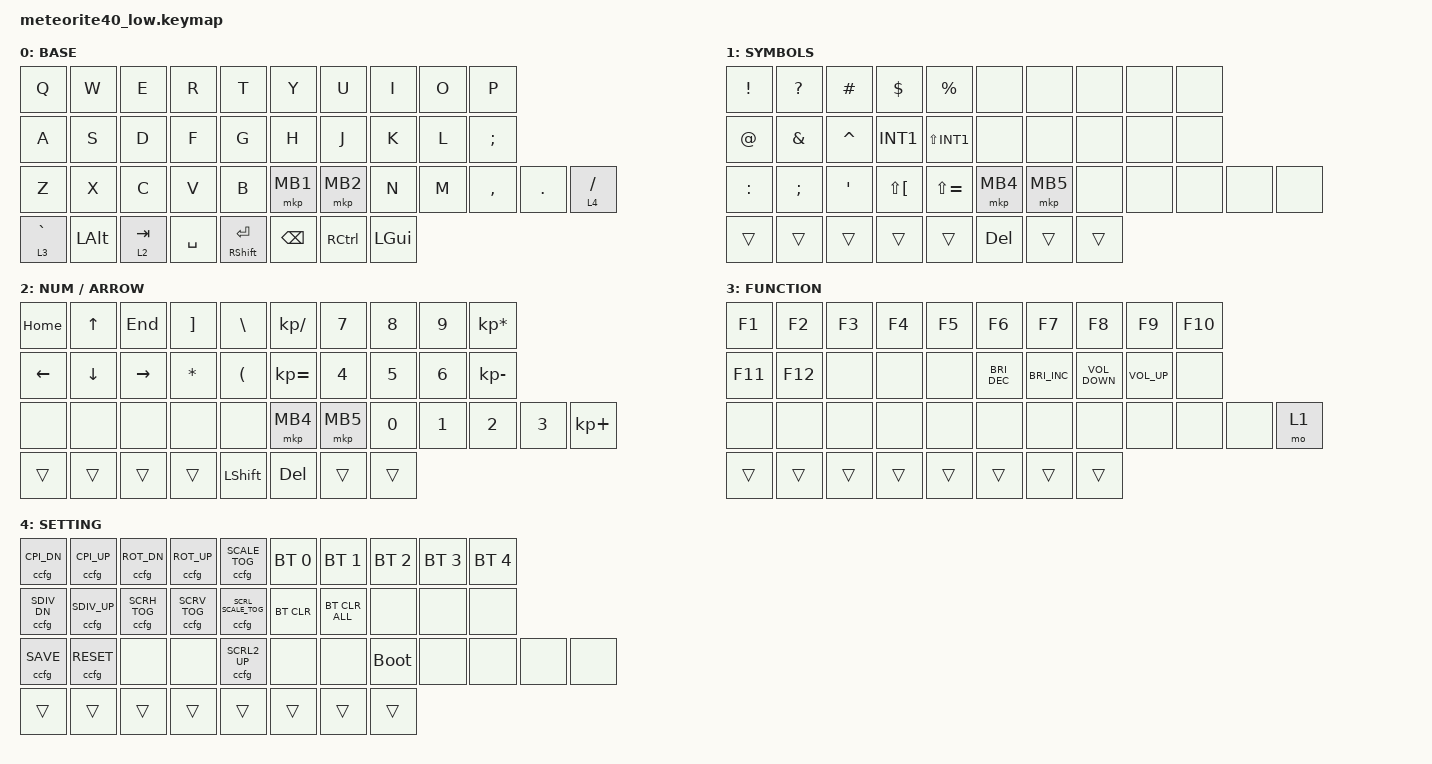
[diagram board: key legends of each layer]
#include <behaviors/custom_config.dtsi>
#include <behaviors/meteorite_custom_key.dtsi>
#include <behaviors/meteorite_bt_os.dtsi>
#include <behaviors/meteorite_mod_key.dtsi>
#include <behaviors/meteorite_os_key.dtsi>
#include <dt-bindings/zmk/custom_config.h>
#include <dt-bindings/zmk/meteorite_custom_keys.h>
#include <dt-bindings/zmk/meteorite_bt_os.h>
#include <behaviors.dtsi>
#include <dt-bindings/zmk/bt.h>
#include <dt-bindings/zmk/keys.h>
#include <dt-bindings/zmk/pointing.h>

&mt {
    flavor = "tap-preferred"; // change hold to tap
    tapping-term-ms = <200>;
    quick-tap-ms = <150>; // change 200 to 150
};

&lt {
    flavor = "tap-preferred";
    tapping-term-ms = <150>; // change 200 to 150
    quick-tap-ms = <150>; // change 200 to 150
};

/ {
    behaviors {
        mck_mt: mck_mt {
            compatible = "zmk,behavior-hold-tap";
            #binding-cells = <2>;
            flavor = "tap-preferred";
            tapping-term-ms = <150>;
            bindings = <&mck>, <&kp>;

            display-name = "meteorite OS-Switch-mod-tap";
        };

        mck_mt_st: mck_mt_st {
            compatible = "zmk,behavior-hold-tap";
            #binding-cells = <2>;
            flavor = "tap-preferred";
            tapping-term-ms = <150>;
            bindings = <&mck>, <&alt_cmd_tab>;

            display-name = "meteorite OS-Switch-mod-tap (smart toggle)";
        };

        alt_cmd_tab: alt_cmd_tab {
            compatible = "zmk,behavior-smart-toggle";
            #binding-cells = <0>;
            display-name = "meteorite Smart toggle (Alt/Cmd+Tab)";
            bindings = <&mck M_OS_ALT_CMD>, <&kp TAB>;

            position-bindings = <12 13>; /* D, F */
            position-binding-behaviors = <&kp LS(TAB)>, <&kp TAB>;
        };
    };

    combos {
        compatible = "zmk,combos";

        esc {
            bindings = <&kp ESCAPE>;
            key-positions = <1 0>; /* Z + X */
            layers = <0>;
        };

        prtsc_symbol {
            bindings = <&lt 1 PRINTSCREEN>;
            key-positions = <8 9>;
        };

        middle_click {
            bindings = <&mkp MB3>;
            key-positions = <25 26>;
        };
    };

    keymap {
        compatible = "zmk,keymap";
        layout = &LOW_PROFILE_DEFAULT;

        win_default_layer {
            display-name = "BASE";
            bindings = <
&kp Q        &kp W         &kp E      &kp R      &kp T            &kp Y          &kp U      &kp I         &kp O  &kp P
&kp A        &kp S         &kp D      &kp F      &kp G            &kp H          &kp J      &kp K         &kp L  &kp SEMICOLON
&kp Z        &kp X         &kp C      &kp V      &kp B            &mkp MB1       &mkp MB2   &kp N         &kp M  &kp COMMA      &kp DOT  &lt 4 SLASH
&lt 3 GRAVE  &kp LEFT_ALT  &lt 2 TAB  &kp SPACE  &mt RSHFT ENTER  &kp BACKSPACE  &kp RCTRL  &kp LEFT_GUI
            >;
        };

        layer_1 {
            display-name = "SYMBOLS";
            bindings = <
&kp EXCL   &kp QUESTION   &kp HASH   &kp DLLR      &kp PRCNT      &none     &none     &none   &none  &none
&kp AT     &kp AMPS       &kp CARET  &kp INT1      &kp LS(INT1)   &none     &none     &none   &none  &none
&kp COLON  &kp SEMICOLON  &kp APOS   &kp LS(LBKT)  &kp LS(EQUAL)  &mkp MB4  &mkp MB5  &none   &none  &none  &none  &none
&trans     &trans         &trans     &trans        &trans         &kp DEL   &trans    &trans
            >;
        };

        layer_2 {
            display-name = "NUM / ARROW";
            bindings = <
&kp HOME  &kp UP    &kp END    &kp RIGHT_BRACKET  &kp BACKSLASH         &kp KP_DIVIDE  &kp N7    &kp N8  &kp N9  &kp KP_ASTERISK
&kp LEFT  &kp DOWN  &kp RIGHT  &kp ASTRK          &kp LEFT_PARENTHESIS  &kp KP_EQUAL   &kp N4    &kp N5  &kp N6  &kp KP_MINUS
&none     &none     &none      &none              &none                 &mkp MB4       &mkp MB5  &kp N0  &kp N1  &kp N2           &kp N3  &kp KP_PLUS
&trans    &trans    &trans     &trans             &kp LSHFT             &kp DEL        &trans    &trans
            >;
        };

        layer_3 {
            display-name = "FUNCTION";
            bindings = <
&kp F1   &kp F2   &kp F3  &kp F4  &kp F5  &kp F6                &kp F7                &kp F8             &kp F9           &kp F10
&kp F11  &kp F12  &none   &none   &none   &kp C_BRIGHTNESS_DEC  &kp C_BRIGHTNESS_INC  &kp C_VOLUME_DOWN  &kp C_VOLUME_UP  &none
&none    &none    &none   &none   &none   &none                 &none                 &none              &none            &none    &none  &mo 1
&trans   &trans   &trans  &trans  &trans  &trans                &trans                &trans
            >;
        };

        layer_4 {
            display-name = "SETTING";
            bindings = <
&ccfg C_CPI_DN   &ccfg C_CPI_UP   &ccfg C_ROT_DN    &ccfg C_ROT_UP    &ccfg C_SCALE_TOG       &bt BT_SEL 0  &bt BT_SEL 1    &bt BT_SEL 2  &bt BT_SEL 3  &bt BT_SEL 4
&ccfg C_SDIV_DN  &ccfg C_SDIV_UP  &ccfg C_SCRH_TOG  &ccfg C_SCRV_TOG  &ccfg C_SCRL_SCALE_TOG  &bt BT_CLR    &bt BT_CLR_ALL  &none         &none         &none
&ccfg C_SAVE     &ccfg C_RESET    &none             &none             &ccfg C_SCRL2_UP        &none         &none           &bootloader   &none         &none         &none  &none
&trans           &trans           &trans            &trans            &trans                  &trans        &trans          &trans
            >;
        };
    };
};
